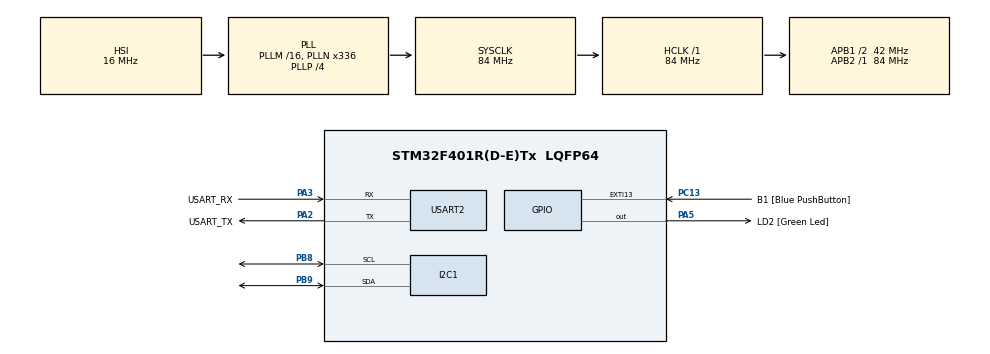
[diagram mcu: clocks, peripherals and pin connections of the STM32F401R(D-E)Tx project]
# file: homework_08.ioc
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Dma.I2C1_RX.0.Direction=DMA_PERIPH_TO_MEMORY
Dma.I2C1_RX.0.FIFOMode=DMA_FIFOMODE_DISABLE
Dma.I2C1_RX.0.Instance=DMA1_Stream0
Dma.I2C1_RX.0.MemDataAlignment=DMA_MDATAALIGN_BYTE
Dma.I2C1_RX.0.MemInc=DMA_MINC_ENABLE
Dma.I2C1_RX.0.Mode=DMA_NORMAL
Dma.I2C1_RX.0.PeriphDataAlignment=DMA_PDATAALIGN_BYTE
Dma.I2C1_RX.0.PeriphInc=DMA_PINC_DISABLE
Dma.I2C1_RX.0.Priority=DMA_PRIORITY_LOW
Dma.Request0=I2C1_RX
Dma.Request1=USART2_TX
Dma.USART2_TX.1.Direction=DMA_MEMORY_TO_PERIPH
Dma.USART2_TX.1.FIFOMode=DMA_FIFOMODE_DISABLE
Dma.USART2_TX.1.Instance=DMA1_Stream6
Dma.USART2_TX.1.MemDataAlignment=DMA_MDATAALIGN_BYTE
Dma.USART2_TX.1.MemInc=DMA_MINC_ENABLE
Dma.USART2_TX.1.Mode=DMA_NORMAL
Dma.USART2_TX.1.PeriphDataAlignment=DMA_PDATAALIGN_BYTE
Dma.USART2_TX.1.PeriphInc=DMA_PINC_DISABLE
Dma.USART2_TX.1.Priority=DMA_PRIORITY_LOW
Mcu.Family=STM32F4
Mcu.Name=STM32F401R(D-E)Tx
Mcu.Package=LQFP64
NVIC.DMA1_Stream0_IRQn=true\:0\:0\:false\:false\:true\:false\:true\:true
NVIC.DMA1_Stream6_IRQn=true\:0\:0\:false\:false\:true\:false\:true\:true
NVIC.I2C1_ER_IRQn=true\:0\:0\:false\:false\:true\:true\:true\:true
NVIC.I2C1_EV_IRQn=true\:0\:0\:false\:false\:true\:true\:true\:true
NVIC.PriorityGroup=NVIC_PRIORITYGROUP_4
NVIC.TIM2_IRQn=true\:0\:0\:false\:false\:true\:true\:true\:true
NVIC.USART2_IRQn=true\:0\:0\:false\:false\:true\:true\:true\:true
PA13.GPIO_Label=TMS
PA13.Mode=Trace_Asynchronous_SW
PA13.Signal=SYS_JTMS-SWDIO
PA14.GPIO_Label=TCK
PA14.Mode=Trace_Asynchronous_SW
PA14.Signal=SYS_JTCK-SWCLK
PA2.GPIO_Label=USART_TX
PA2.GPIO_Mode=GPIO_MODE_AF_PP
PA2.GPIO_PuPd=GPIO_NOPULL
PA2.GPIO_Speed=GPIO_SPEED_FREQ_LOW
PA2.Mode=Asynchronous
PA2.Signal=USART2_TX
PA3.GPIO_Label=USART_RX
PA3.GPIO_Mode=GPIO_MODE_AF_PP
PA3.GPIO_PuPd=GPIO_NOPULL
PA3.GPIO_Speed=GPIO_SPEED_FREQ_LOW
PA3.Mode=Asynchronous
PA3.Signal=USART2_RX
PA5.GPIO_Label=LD2 [Green Led]
PA5.GPIO_Mode=GPIO_MODE_OUTPUT_PP
PA5.GPIO_PuPd=GPIO_NOPULL
PA5.GPIO_Speed=GPIO_SPEED_FREQ_LOW
PA5.Signal=GPIO_Output
PB3.GPIO_Label=SWO
PB3.Mode=Trace_Asynchronous_SW
PB3.Signal=SYS_JTDO-SWO
PB8.Mode=I2C
PB8.Signal=I2C1_SCL
PB9.Mode=I2C
PB9.Signal=I2C1_SDA
PC13-ANTI_TAMP.GPIO_Label=B1 [Blue PushButton]
PC13-ANTI_TAMP.GPIO_ModeDefaultEXTI=GPIO_MODE_IT_FALLING
PC13-ANTI_TAMP.GPIO_PuPd=GPIO_NOPULL
PC13-ANTI_TAMP.Signal=GPXTI13
PC14-OSC32_IN.Mode=LSE-External-Oscillator
PC14-OSC32_IN.Signal=RCC_OSC32_IN
PC15-OSC32_OUT.Mode=LSE-External-Oscillator
PC15-OSC32_OUT.Signal=RCC_OSC32_OUT
PH0\ -\ OSC_IN.Mode=HSE-External-Clock-Source
PH0\ -\ OSC_IN.Signal=RCC_OSC_IN
PH1\ -\ OSC_OUT.Mode=HSE-External-Clock-Source
PH1\ -\ OSC_OUT.Signal=RCC_OSC_OUT
ProjectManager.HeapSize=0x200
ProjectManager.StackSize=0x400
ProjectManager.TargetToolchain=CMake
RCC.48MHZClocksFreq_Value=48000000
RCC.AHBFreq_Value=84000000
RCC.APB1CLKDivider=RCC_HCLK_DIV2
RCC.APB1Freq_Value=42000000
RCC.APB1TimFreq_Value=84000000
RCC.APB2Freq_Value=84000000
RCC.APB2TimFreq_Value=84000000
RCC.CortexFreq_Value=84000000
RCC.HCLKFreq_Value=84000000
RCC.HSE_VALUE=8000000
RCC.HSI_VALUE=16000000
RCC.PLLN=336
RCC.PLLP=RCC_PLLP_DIV4
RCC.PLLQ=7
RCC.SYSCLKFreq_VALUE=84000000
RCC.SYSCLKSource=RCC_SYSCLKSOURCE_PLLCLK
RCC.VCOOutputFreq_Value=336000000
TIM2.Period=10000-1
TIM2.Prescaler=8400-1
USART2.VirtualMode=VM_ASYNC
VP_TIM2_VS_ClockSourceINT.Mode=Internal
board=NUCLEO-F401RE

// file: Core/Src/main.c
/* USER CODE BEGIN Header */
/**
  ******************************************************************************
  * @file           : main.c
  * @brief          : Main program body
  ******************************************************************************
  * @attention
  *
  * Copyright (c) 2026 STMicroelectronics.
  * All rights reserved.
  *
  * This software is licensed under terms that can be found in the LICENSE file
  * in the root directory of this software component.
  * If no LICENSE file comes with this software, it is provided AS-IS.
  *
  ******************************************************************************
  */
/* USER CODE END Header */
#include "main.h"

/* USER CODE BEGIN Includes */
#include <stdio.h>
/* USER CODE END Includes */

I2C_HandleTypeDef hi2c1;
DMA_HandleTypeDef hdma_i2c1_rx;

TIM_HandleTypeDef htim2;

UART_HandleTypeDef huart2;
DMA_HandleTypeDef hdma_usart2_tx;

/* USER CODE BEGIN PV */
uint8_t temp_buffer[2];
int16_t raw_temp;
float temp_celsius;
int length;
char msg[64];
/* USER CODE END PV */

void SystemClock_Config(void);
static void MX_GPIO_Init(void);
static void MX_DMA_Init(void);
static void MX_USART2_UART_Init(void);
static void MX_I2C1_Init(void);
static void MX_TIM2_Init(void);

int main(void)
{

  /* MCU Configuration--------------------------------------------------------*/

  /* Reset of all peripherals, Initializes the Flash interface and the Systick. */
  HAL_Init();

  /* Configure the system clock */
  SystemClock_Config();

  /* Initialize all configured peripherals */
  MX_GPIO_Init();
  MX_DMA_Init();
  MX_USART2_UART_Init();
  MX_I2C1_Init();
  MX_TIM2_Init();
  /* USER CODE BEGIN 2 */
  HAL_TIM_Base_Start_IT(&htim2);
  /* USER CODE END 2 */

  /* Infinite loop */
  while (1)
  {

  }
}

void SystemClock_Config(void)
{
  RCC_OscInitTypeDef RCC_OscInitStruct = {0};
  RCC_ClkInitTypeDef RCC_ClkInitStruct = {0};

  /** Configure the main internal regulator output voltage
  */
  __HAL_RCC_PWR_CLK_ENABLE();
  __HAL_PWR_VOLTAGESCALING_CONFIG(PWR_REGULATOR_VOLTAGE_SCALE2);

  /** Initializes the RCC Oscillators according to the specified parameters
  * in the RCC_OscInitTypeDef structure.
  */
  RCC_OscInitStruct.OscillatorType = RCC_OSCILLATORTYPE_HSI;
  RCC_OscInitStruct.HSIState = RCC_HSI_ON;
  RCC_OscInitStruct.HSICalibrationValue = RCC_HSICALIBRATION_DEFAULT;
  RCC_OscInitStruct.PLL.PLLState = RCC_PLL_ON;
  RCC_OscInitStruct.PLL.PLLSource = RCC_PLLSOURCE_HSI;
  RCC_OscInitStruct.PLL.PLLM = 16;
  RCC_OscInitStruct.PLL.PLLN = 336;
  RCC_OscInitStruct.PLL.PLLP = RCC_PLLP_DIV4;
  RCC_OscInitStruct.PLL.PLLQ = 7;
  if (HAL_RCC_OscConfig(&RCC_OscInitStruct) != HAL_OK)
  {
    Error_Handler();
  }

  /** Initializes the CPU, AHB and APB buses clocks
  */
  RCC_ClkInitStruct.ClockType = RCC_CLOCKTYPE_HCLK|RCC_CLOCKTYPE_SYSCLK
                              |RCC_CLOCKTYPE_PCLK1|RCC_CLOCKTYPE_PCLK2;
  RCC_ClkInitStruct.SYSCLKSource = RCC_SYSCLKSOURCE_PLLCLK;
  RCC_ClkInitStruct.AHBCLKDivider = RCC_SYSCLK_DIV1;
  RCC_ClkInitStruct.APB1CLKDivider = RCC_HCLK_DIV2;
  RCC_ClkInitStruct.APB2CLKDivider = RCC_HCLK_DIV1;

  if (HAL_RCC_ClockConfig(&RCC_ClkInitStruct, FLASH_LATENCY_2) != HAL_OK)
  {
    Error_Handler();
  }
}

static void MX_I2C1_Init(void)
{

  hi2c1.Instance = I2C1;
  hi2c1.Init.ClockSpeed = 100000;
  hi2c1.Init.DutyCycle = I2C_DUTYCYCLE_2;
  hi2c1.Init.OwnAddress1 = 0;
  hi2c1.Init.AddressingMode = I2C_ADDRESSINGMODE_7BIT;
  hi2c1.Init.DualAddressMode = I2C_DUALADDRESS_DISABLE;
  hi2c1.Init.OwnAddress2 = 0;
  hi2c1.Init.GeneralCallMode = I2C_GENERALCALL_DISABLE;
  hi2c1.Init.NoStretchMode = I2C_NOSTRETCH_DISABLE;
  if (HAL_I2C_Init(&hi2c1) != HAL_OK)
  {
    Error_Handler();
  }

}

static void MX_TIM2_Init(void)
{

  TIM_ClockConfigTypeDef sClockSourceConfig = {0};
  TIM_MasterConfigTypeDef sMasterConfig = {0};

  htim2.Instance = TIM2;
  htim2.Init.Prescaler = 8400-1;
  htim2.Init.CounterMode = TIM_COUNTERMODE_UP;
  htim2.Init.Period = 10000-1;
  htim2.Init.ClockDivision = TIM_CLOCKDIVISION_DIV1;
  htim2.Init.AutoReloadPreload = TIM_AUTORELOAD_PRELOAD_DISABLE;
  if (HAL_TIM_Base_Init(&htim2) != HAL_OK)
  {
    Error_Handler();
  }
  sClockSourceConfig.ClockSource = TIM_CLOCKSOURCE_INTERNAL;
  if (HAL_TIM_ConfigClockSource(&htim2, &sClockSourceConfig) != HAL_OK)
  {
    Error_Handler();
  }
  sMasterConfig.MasterOutputTrigger = TIM_TRGO_RESET;
  sMasterConfig.MasterSlaveMode = TIM_MASTERSLAVEMODE_DISABLE;
  if (HAL_TIMEx_MasterConfigSynchronization(&htim2, &sMasterConfig) != HAL_OK)
  {
    Error_Handler();
  }

}

static void MX_USART2_UART_Init(void)
{

  huart2.Instance = USART2;
  huart2.Init.BaudRate = 115200;
  huart2.Init.WordLength = UART_WORDLENGTH_8B;
  huart2.Init.StopBits = UART_STOPBITS_1;
  huart2.Init.Parity = UART_PARITY_NONE;
  huart2.Init.Mode = UART_MODE_TX_RX;
  huart2.Init.HwFlowCtl = UART_HWCONTROL_NONE;
  huart2.Init.OverSampling = UART_OVERSAMPLING_16;
  if (HAL_UART_Init(&huart2) != HAL_OK)
  {
    Error_Handler();
  }

}

static void MX_DMA_Init(void)
{

  /* DMA controller clock enable */
  __HAL_RCC_DMA1_CLK_ENABLE();

  /* DMA interrupt init */
  /* DMA1_Stream0_IRQn interrupt configuration */
  HAL_NVIC_SetPriority(DMA1_Stream0_IRQn, 0, 0);
  HAL_NVIC_EnableIRQ(DMA1_Stream0_IRQn);
  /* DMA1_Stream6_IRQn interrupt configuration */
  HAL_NVIC_SetPriority(DMA1_Stream6_IRQn, 0, 0);
  HAL_NVIC_EnableIRQ(DMA1_Stream6_IRQn);

}

static void MX_GPIO_Init(void)
{
  GPIO_InitTypeDef GPIO_InitStruct = {0};

  /* GPIO Ports Clock Enable */
  __HAL_RCC_GPIOC_CLK_ENABLE();
  __HAL_RCC_GPIOH_CLK_ENABLE();
  __HAL_RCC_GPIOA_CLK_ENABLE();
  __HAL_RCC_GPIOB_CLK_ENABLE();

  /*Configure GPIO pin Output Level */
  HAL_GPIO_WritePin(LD2_GPIO_Port, LD2_Pin, GPIO_PIN_RESET);

  /*Configure GPIO pin : B1_Pin */
  GPIO_InitStruct.Pin = B1_Pin;
  GPIO_InitStruct.Mode = GPIO_MODE_IT_FALLING;
  GPIO_InitStruct.Pull = GPIO_NOPULL;
  HAL_GPIO_Init(B1_GPIO_Port, &GPIO_InitStruct);

  /*Configure GPIO pin : LD2_Pin */
  GPIO_InitStruct.Pin = LD2_Pin;
  GPIO_InitStruct.Mode = GPIO_MODE_OUTPUT_PP;
  GPIO_InitStruct.Pull = GPIO_NOPULL;
  GPIO_InitStruct.Speed = GPIO_SPEED_FREQ_LOW;
  HAL_GPIO_Init(LD2_GPIO_Port, &GPIO_InitStruct);

}

/* USER CODE BEGIN 4 */
void HAL_TIM_PeriodElapsedCallback(TIM_HandleTypeDef *htim){
  if(htim == &htim2){
    HAL_I2C_Mem_Read_DMA(&hi2c1, 0x90, 0x00, I2C_MEMADD_SIZE_8BIT, temp_buffer, 2);  }
}

void HAL_I2C_MemRxCpltCallback(I2C_HandleTypeDef *hi2c){
  if(hi2c == &hi2c1){
    raw_temp = (temp_buffer[0] << 8) | temp_buffer[1];
    raw_temp = raw_temp >> 5;
    temp_celsius = raw_temp * 0.125;
    length = sprintf(msg, "Temperature: %.3f °C\r\n", temp_celsius);
    HAL_UART_Transmit_DMA(&huart2, (uint8_t*)msg, length);
  }
}
/* USER CODE END 4 */

void Error_Handler(void)
{
  __disable_irq();
  while (1)
  {
  }
}
